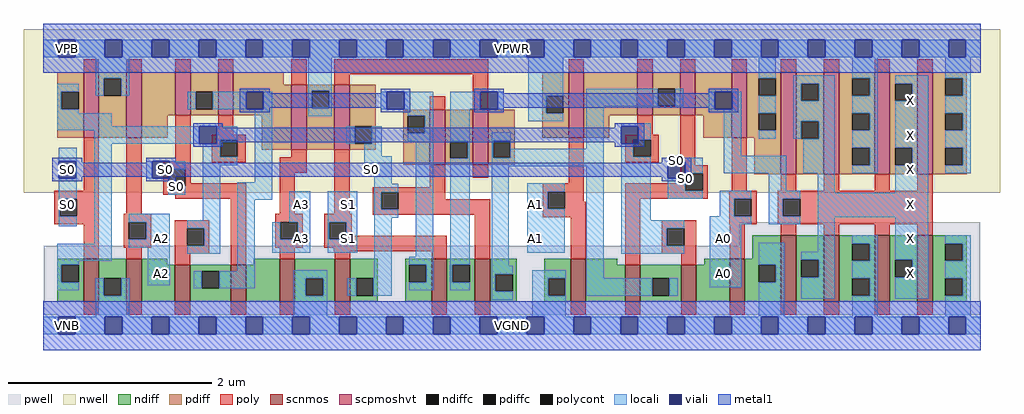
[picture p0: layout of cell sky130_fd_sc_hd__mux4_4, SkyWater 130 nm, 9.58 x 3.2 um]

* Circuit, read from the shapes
.subckt sky130_fd_sc_hd__mux4_4 A0 A1 A2 A3 S0 S1 VGND VNB VPB VPWR X
XM1 VGND S0 n1 VNB sky130_fd_pr__nfet_01v8 w=0.42 l=0.15
XM2 n2 A2 VGND VNB sky130_fd_pr__nfet_01v8 w=0.42 l=0.15
XM3 n3 n1 n2 VNB sky130_fd_pr__nfet_01v8 w=0.36 l=0.15
XM4 n4 S0 n3 VNB sky130_fd_pr__nfet_01v8 w=0.36 l=0.15
XM5 VGND A3 n4 VNB sky130_fd_pr__nfet_01v8 w=0.42 l=0.15
XM6 n5 S1 VGND VNB sky130_fd_pr__nfet_01v8 w=0.42 l=0.15
XM7 n6 S1 n3 VNB sky130_fd_pr__nfet_01v8 w=0.42 l=0.15
XM8 n7 n5 n6 VNB sky130_fd_pr__nfet_01v8 w=0.42 l=0.15
XM9 n8 A1 VGND VNB sky130_fd_pr__nfet_01v8 w=0.42 l=0.15
XM10 n7 S0 n8 VNB sky130_fd_pr__nfet_01v8 w=0.36 l=0.15
XM11 n9 n1 n7 VNB sky130_fd_pr__nfet_01v8 w=0.36 l=0.15
XM12 VGND A0 n9 VNB sky130_fd_pr__nfet_01v8 w=0.42 l=0.15
XM13 X n6 VGND VNB sky130_fd_pr__nfet_01v8 w=0.65 l=0.15 m=4
XM14 VPWR S0 n1 VPB sky130_fd_pr__pfet_01v8_hvt w=0.64 l=0.15
XM15 n10 A2 VPWR VPB sky130_fd_pr__pfet_01v8_hvt w=0.64 l=0.15
XM16 n3 S0 n10 VPB sky130_fd_pr__pfet_01v8_hvt w=0.42 l=0.15
XM17 n11 n1 n3 VPB sky130_fd_pr__pfet_01v8_hvt w=0.42 l=0.15
XM18 VPWR A3 n11 VPB sky130_fd_pr__pfet_01v8_hvt w=0.64 l=0.15
XM19 n5 S1 VPWR VPB sky130_fd_pr__pfet_01v8_hvt w=0.64 l=0.15
XM20 n6 n5 n3 VPB sky130_fd_pr__pfet_01v8_hvt w=0.54 l=0.15
XM21 n7 S1 n6 VPB sky130_fd_pr__pfet_01v8_hvt w=0.54 l=0.15
XM22 n12 A1 VPWR VPB sky130_fd_pr__pfet_01v8_hvt w=0.64 l=0.15
XM23 n7 n1 n12 VPB sky130_fd_pr__pfet_01v8_hvt w=0.42 l=0.15
XM24 n13 S0 n7 VPB sky130_fd_pr__pfet_01v8_hvt w=0.42 l=0.15
XM25 VPWR A0 n13 VPB sky130_fd_pr__pfet_01v8_hvt w=0.64 l=0.15
XM26 X n6 VPWR VPB sky130_fd_pr__pfet_01v8_hvt w=1 l=0.15 m=4
.ends

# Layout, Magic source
magic
tech sky130A
magscale 1 2
<< nwell >>
rect -38 261 1878 582
<< pwell >>
rect 1366 157 1839 203
rect 1 21 1839 157
rect 30 -17 64 21
<< scnmos >>
rect 79 47 109 131
rect 163 47 193 131
rect 258 47 288 119
rect 368 47 398 119
rect 464 47 494 131
rect 572 47 602 131
rect 762 47 792 131
rect 847 47 877 131
rect 1035 47 1065 131
rect 1142 47 1172 119
rect 1252 47 1282 119
rect 1347 47 1377 131
rect 1448 47 1478 177
rect 1532 47 1562 177
rect 1632 47 1662 177
rect 1716 47 1746 177
<< scpmoshvt >>
rect 79 369 109 497
rect 163 369 193 497
rect 259 413 289 497
rect 343 413 373 497
rect 487 345 517 473
rect 571 345 601 473
rect 759 316 789 424
rect 843 316 873 424
rect 1031 369 1061 497
rect 1166 413 1196 497
rect 1250 413 1280 497
rect 1351 369 1381 497
rect 1448 297 1478 497
rect 1532 297 1562 497
rect 1632 297 1662 497
rect 1716 297 1746 497
<< ndiff >>
rect 27 119 79 131
rect 27 85 35 119
rect 69 85 79 119
rect 27 47 79 85
rect 109 93 163 131
rect 109 59 119 93
rect 153 59 163 93
rect 109 47 163 59
rect 193 119 243 131
rect 413 119 464 131
rect 193 47 258 119
rect 288 107 368 119
rect 288 73 311 107
rect 345 73 368 107
rect 288 47 368 73
rect 398 47 464 119
rect 494 93 572 131
rect 494 59 515 93
rect 549 59 572 93
rect 494 47 572 59
rect 602 93 656 131
rect 602 59 614 93
rect 648 59 656 93
rect 602 47 656 59
rect 710 119 762 131
rect 710 85 718 119
rect 752 85 762 119
rect 710 47 762 85
rect 792 119 847 131
rect 792 85 803 119
rect 837 85 847 119
rect 792 47 847 85
rect 877 101 929 131
rect 877 67 887 101
rect 921 67 929 101
rect 877 47 929 67
rect 983 93 1035 131
rect 983 59 991 93
rect 1025 59 1035 93
rect 983 47 1035 59
rect 1065 119 1127 131
rect 1392 131 1448 177
rect 1297 119 1347 131
rect 1065 47 1142 119
rect 1172 93 1252 119
rect 1172 59 1195 93
rect 1229 59 1252 93
rect 1172 47 1252 59
rect 1282 47 1347 119
rect 1377 119 1448 131
rect 1377 85 1404 119
rect 1438 85 1448 119
rect 1377 47 1448 85
rect 1478 129 1532 177
rect 1478 95 1488 129
rect 1522 95 1532 129
rect 1478 47 1532 95
rect 1562 161 1632 177
rect 1562 127 1588 161
rect 1622 127 1632 161
rect 1562 93 1632 127
rect 1562 59 1588 93
rect 1622 59 1632 93
rect 1562 47 1632 59
rect 1662 129 1716 177
rect 1662 95 1672 129
rect 1706 95 1716 129
rect 1662 47 1716 95
rect 1746 161 1813 177
rect 1746 127 1771 161
rect 1805 127 1813 161
rect 1746 93 1813 127
rect 1746 59 1771 93
rect 1805 59 1813 93
rect 1746 47 1813 59
<< pdiff >>
rect 27 459 79 497
rect 27 425 35 459
rect 69 425 79 459
rect 27 369 79 425
rect 109 485 163 497
rect 109 451 119 485
rect 153 451 163 485
rect 109 369 163 451
rect 193 413 259 497
rect 289 459 343 497
rect 289 425 299 459
rect 333 425 343 459
rect 289 413 343 425
rect 373 473 472 497
rect 373 413 487 473
rect 193 369 244 413
rect 429 345 487 413
rect 517 461 571 473
rect 517 427 527 461
rect 561 427 571 461
rect 517 345 571 427
rect 601 391 653 473
rect 979 451 1031 497
rect 601 357 611 391
rect 645 357 653 391
rect 601 345 653 357
rect 707 412 759 424
rect 707 378 715 412
rect 749 378 759 412
rect 707 316 759 378
rect 789 362 843 424
rect 789 328 799 362
rect 833 328 843 362
rect 789 316 843 328
rect 873 363 925 424
rect 979 417 987 451
rect 1021 417 1031 451
rect 979 369 1031 417
rect 1061 413 1166 497
rect 1196 465 1250 497
rect 1196 431 1206 465
rect 1240 431 1250 465
rect 1196 413 1250 431
rect 1280 413 1351 497
rect 1061 369 1111 413
rect 873 329 883 363
rect 917 329 925 363
rect 873 316 925 329
rect 1295 369 1351 413
rect 1381 485 1448 497
rect 1381 451 1404 485
rect 1438 451 1448 485
rect 1381 417 1448 451
rect 1381 383 1404 417
rect 1438 383 1448 417
rect 1381 369 1448 383
rect 1396 297 1448 369
rect 1478 475 1532 497
rect 1478 441 1488 475
rect 1522 441 1532 475
rect 1478 401 1532 441
rect 1478 367 1488 401
rect 1522 367 1532 401
rect 1478 297 1532 367
rect 1562 485 1632 497
rect 1562 451 1588 485
rect 1622 451 1632 485
rect 1562 417 1632 451
rect 1562 383 1588 417
rect 1622 383 1632 417
rect 1562 349 1632 383
rect 1562 315 1588 349
rect 1622 315 1632 349
rect 1562 297 1632 315
rect 1662 475 1716 497
rect 1662 441 1672 475
rect 1706 441 1716 475
rect 1662 349 1716 441
rect 1662 315 1672 349
rect 1706 315 1716 349
rect 1662 297 1716 315
rect 1746 485 1813 497
rect 1746 451 1771 485
rect 1805 451 1813 485
rect 1746 417 1813 451
rect 1746 383 1771 417
rect 1805 383 1813 417
rect 1746 349 1813 383
rect 1746 315 1771 349
rect 1805 315 1813 349
rect 1746 297 1813 315
<< ndiffc >>
rect 35 85 69 119
rect 119 59 153 93
rect 311 73 345 107
rect 515 59 549 93
rect 614 59 648 93
rect 718 85 752 119
rect 803 85 837 119
rect 887 67 921 101
rect 991 59 1025 93
rect 1195 59 1229 93
rect 1404 85 1438 119
rect 1488 95 1522 129
rect 1588 127 1622 161
rect 1588 59 1622 93
rect 1672 95 1706 129
rect 1771 127 1805 161
rect 1771 59 1805 93
<< pdiffc >>
rect 35 425 69 459
rect 119 451 153 485
rect 299 425 333 459
rect 527 427 561 461
rect 611 357 645 391
rect 715 378 749 412
rect 799 328 833 362
rect 987 417 1021 451
rect 1206 431 1240 465
rect 883 329 917 363
rect 1404 451 1438 485
rect 1404 383 1438 417
rect 1488 441 1522 475
rect 1488 367 1522 401
rect 1588 451 1622 485
rect 1588 383 1622 417
rect 1588 315 1622 349
rect 1672 441 1706 475
rect 1672 315 1706 349
rect 1771 451 1805 485
rect 1771 383 1805 417
rect 1771 315 1805 349
<< poly >>
rect 79 497 109 523
rect 163 497 193 523
rect 259 497 289 523
rect 343 497 373 523
rect 487 473 517 523
rect 571 493 873 523
rect 1031 497 1061 523
rect 1166 497 1196 523
rect 1250 497 1280 523
rect 1351 497 1381 523
rect 1448 497 1478 523
rect 1532 497 1562 523
rect 1632 497 1662 523
rect 1716 497 1746 523
rect 571 473 601 493
rect 79 265 109 369
rect 21 249 109 265
rect 21 215 32 249
rect 66 215 109 249
rect 163 219 193 369
rect 259 323 289 413
rect 343 375 373 413
rect 235 307 289 323
rect 331 365 397 375
rect 331 331 347 365
rect 381 331 397 365
rect 759 424 789 450
rect 843 424 873 493
rect 331 321 397 331
rect 487 330 517 345
rect 235 273 245 307
rect 279 279 289 307
rect 464 300 517 330
rect 279 273 398 279
rect 235 257 398 273
rect 259 249 398 257
rect 21 199 109 215
rect 79 131 109 199
rect 158 203 212 219
rect 158 169 168 203
rect 202 169 212 203
rect 158 153 212 169
rect 258 191 326 207
rect 258 157 282 191
rect 316 157 326 191
rect 163 131 193 153
rect 258 141 326 157
rect 258 119 288 141
rect 368 119 398 249
rect 464 219 494 300
rect 571 219 601 345
rect 1166 375 1196 413
rect 759 272 789 316
rect 843 290 873 316
rect 1031 279 1061 369
rect 1142 365 1208 375
rect 1142 331 1158 365
rect 1192 331 1208 365
rect 1142 321 1208 331
rect 1250 315 1280 413
rect 1250 299 1304 315
rect 1250 279 1260 299
rect 647 262 789 272
rect 647 228 663 262
rect 697 248 789 262
rect 980 263 1061 279
rect 697 228 877 248
rect 455 203 509 219
rect 455 169 465 203
rect 499 169 509 203
rect 455 153 509 169
rect 551 203 605 219
rect 647 218 877 228
rect 551 169 561 203
rect 595 176 605 203
rect 595 169 792 176
rect 551 153 792 169
rect 464 131 494 153
rect 570 146 792 153
rect 572 131 602 146
rect 762 131 792 146
rect 847 131 877 218
rect 980 229 990 263
rect 1024 243 1061 263
rect 1142 265 1260 279
rect 1294 265 1304 299
rect 1351 265 1381 369
rect 1448 265 1478 297
rect 1532 265 1562 297
rect 1632 265 1662 297
rect 1716 265 1746 297
rect 1142 249 1304 265
rect 1346 249 1400 265
rect 1024 229 1065 243
rect 980 213 1065 229
rect 1035 131 1065 213
rect 1142 119 1172 249
rect 1346 215 1356 249
rect 1390 215 1400 249
rect 1214 191 1282 207
rect 1346 199 1400 215
rect 1442 249 1746 265
rect 1442 215 1452 249
rect 1486 215 1746 249
rect 1442 199 1746 215
rect 1214 157 1224 191
rect 1258 157 1282 191
rect 1214 141 1282 157
rect 1252 119 1282 141
rect 1347 131 1377 199
rect 1448 177 1478 199
rect 1532 177 1562 199
rect 1632 177 1662 199
rect 1716 177 1746 199
rect 79 21 109 47
rect 163 21 193 47
rect 258 21 288 47
rect 368 21 398 47
rect 464 21 494 47
rect 572 21 602 47
rect 762 21 792 47
rect 847 21 877 47
rect 1035 21 1065 47
rect 1142 21 1172 47
rect 1252 21 1282 47
rect 1347 21 1377 47
rect 1448 21 1478 47
rect 1532 21 1562 47
rect 1632 21 1662 47
rect 1716 21 1746 47
<< polycont >>
rect 32 215 66 249
rect 347 331 381 365
rect 245 273 279 307
rect 168 169 202 203
rect 282 157 316 191
rect 1158 331 1192 365
rect 663 228 697 262
rect 465 169 499 203
rect 561 169 595 203
rect 990 229 1024 263
rect 1260 265 1294 299
rect 1356 215 1390 249
rect 1452 215 1486 249
rect 1224 157 1258 191
<< locali >>
rect 0 527 29 561
rect 63 527 121 561
rect 155 527 213 561
rect 247 527 305 561
rect 339 527 397 561
rect 431 527 489 561
rect 523 527 581 561
rect 615 527 673 561
rect 707 527 765 561
rect 799 527 857 561
rect 891 527 949 561
rect 983 527 1041 561
rect 1075 527 1133 561
rect 1167 527 1225 561
rect 1259 527 1317 561
rect 1351 527 1409 561
rect 1443 527 1501 561
rect 1535 527 1593 561
rect 1627 527 1685 561
rect 1719 527 1777 561
rect 1811 527 1840 561
rect 103 485 169 527
rect 27 459 69 475
rect 27 425 35 459
rect 103 451 119 485
rect 153 451 169 485
rect 520 461 566 527
rect 283 425 299 459
rect 333 425 398 459
rect 432 425 449 459
rect 27 417 69 425
rect 27 391 134 417
rect 27 383 306 391
rect 100 357 306 383
rect 340 365 381 391
rect 340 357 347 365
rect 30 323 66 349
rect 64 289 66 323
rect 30 249 66 289
rect 30 215 32 249
rect 30 195 66 215
rect 100 161 134 357
rect 313 331 347 357
rect 202 289 214 323
rect 248 307 279 323
rect 245 257 279 273
rect 313 315 381 331
rect 27 127 134 161
rect 168 203 248 219
rect 313 207 347 315
rect 415 281 449 425
rect 520 427 527 461
rect 561 427 566 461
rect 520 411 566 427
rect 662 425 674 459
rect 708 425 765 459
rect 715 412 765 425
rect 595 357 611 391
rect 645 357 664 391
rect 749 378 765 412
rect 715 362 765 378
rect 630 332 664 357
rect 630 298 684 332
rect 202 169 248 203
rect 168 153 248 169
rect 27 119 69 127
rect 27 85 35 119
rect 27 69 69 85
rect 103 59 119 93
rect 153 59 169 93
rect 205 79 248 153
rect 282 191 347 207
rect 316 157 347 191
rect 282 141 347 157
rect 381 247 449 281
rect 650 278 684 298
rect 381 107 415 247
rect 483 203 524 264
rect 449 169 465 203
rect 499 169 524 203
rect 449 143 524 169
rect 558 203 616 264
rect 558 169 561 203
rect 595 169 616 203
rect 558 143 616 169
rect 650 262 697 278
rect 650 228 663 262
rect 650 212 697 228
rect 295 73 311 107
rect 345 73 415 107
rect 491 93 557 109
rect 650 93 684 212
rect 731 135 765 362
rect 103 17 169 59
rect 491 59 515 93
rect 549 59 557 93
rect 598 59 614 93
rect 648 59 684 93
rect 718 119 765 135
rect 752 85 765 119
rect 718 69 765 85
rect 799 425 858 459
rect 892 425 904 459
rect 952 451 1021 527
rect 1404 485 1438 527
rect 799 362 837 425
rect 952 417 987 451
rect 952 401 1021 417
rect 1066 431 1206 465
rect 1240 431 1256 465
rect 833 328 837 362
rect 799 119 837 328
rect 799 85 803 119
rect 799 69 837 85
rect 880 363 918 379
rect 880 329 883 363
rect 917 347 918 363
rect 1066 347 1100 431
rect 1306 425 1318 459
rect 1352 425 1370 459
rect 917 329 1100 347
rect 880 313 1100 329
rect 880 117 914 313
rect 950 263 1024 279
rect 950 229 990 263
rect 950 143 1024 229
rect 880 101 921 117
rect 880 67 887 101
rect 491 17 557 59
rect 880 51 921 67
rect 960 93 1026 109
rect 960 59 991 93
rect 1025 59 1026 93
rect 1066 93 1100 313
rect 1134 391 1192 397
rect 1168 365 1192 391
rect 1134 331 1158 357
rect 1134 207 1192 331
rect 1336 333 1370 425
rect 1404 417 1438 451
rect 1404 367 1438 383
rect 1472 475 1554 491
rect 1472 441 1488 475
rect 1522 441 1554 475
rect 1472 401 1554 441
rect 1472 367 1488 401
rect 1522 367 1554 401
rect 1226 323 1294 329
rect 1260 299 1294 323
rect 1336 299 1458 333
rect 1492 299 1554 367
rect 1588 485 1638 527
rect 1622 451 1638 485
rect 1588 417 1638 451
rect 1622 383 1638 417
rect 1588 349 1638 383
rect 1622 315 1638 349
rect 1588 299 1638 315
rect 1672 475 1737 491
rect 1706 441 1737 475
rect 1672 349 1737 441
rect 1706 315 1737 349
rect 1226 265 1260 289
rect 1424 265 1458 299
rect 1226 249 1294 265
rect 1328 249 1390 265
rect 1328 215 1356 249
rect 1134 191 1258 207
rect 1134 157 1224 191
rect 1134 141 1258 157
rect 1308 199 1390 215
rect 1424 249 1486 265
rect 1424 215 1452 249
rect 1424 199 1486 215
rect 1520 261 1554 299
rect 1672 261 1737 315
rect 1771 485 1821 527
rect 1805 451 1821 485
rect 1771 417 1821 451
rect 1805 383 1821 417
rect 1771 349 1821 383
rect 1805 315 1821 349
rect 1771 299 1821 315
rect 1520 213 1737 261
rect 1066 59 1195 93
rect 1229 59 1245 93
rect 1308 75 1370 199
rect 1404 119 1454 163
rect 1520 145 1554 213
rect 1438 85 1454 119
rect 960 17 1026 59
rect 1404 17 1454 85
rect 1488 129 1554 145
rect 1522 95 1554 129
rect 1488 53 1554 95
rect 1588 161 1638 177
rect 1622 127 1638 161
rect 1588 93 1638 127
rect 1622 59 1638 93
rect 1588 17 1638 59
rect 1672 129 1737 213
rect 1706 95 1737 129
rect 1672 53 1737 95
rect 1771 161 1821 177
rect 1805 127 1821 161
rect 1771 93 1821 127
rect 1805 59 1821 93
rect 1771 17 1821 59
rect 0 -17 29 17
rect 63 -17 121 17
rect 155 -17 213 17
rect 247 -17 305 17
rect 339 -17 397 17
rect 431 -17 489 17
rect 523 -17 581 17
rect 615 -17 673 17
rect 707 -17 765 17
rect 799 -17 857 17
rect 891 -17 949 17
rect 983 -17 1041 17
rect 1075 -17 1133 17
rect 1167 -17 1225 17
rect 1259 -17 1317 17
rect 1351 -17 1409 17
rect 1443 -17 1501 17
rect 1535 -17 1593 17
rect 1627 -17 1685 17
rect 1719 -17 1777 17
rect 1811 -17 1840 17
<< viali >>
rect 29 527 63 561
rect 121 527 155 561
rect 213 527 247 561
rect 305 527 339 561
rect 397 527 431 561
rect 489 527 523 561
rect 581 527 615 561
rect 673 527 707 561
rect 765 527 799 561
rect 857 527 891 561
rect 949 527 983 561
rect 1041 527 1075 561
rect 1133 527 1167 561
rect 1225 527 1259 561
rect 1317 527 1351 561
rect 1409 527 1443 561
rect 1501 527 1535 561
rect 1593 527 1627 561
rect 1685 527 1719 561
rect 1777 527 1811 561
rect 398 425 432 459
rect 306 357 340 391
rect 30 289 64 323
rect 214 307 248 323
rect 214 289 245 307
rect 245 289 248 307
rect 674 425 708 459
rect 858 425 892 459
rect 1318 425 1352 459
rect 1134 365 1168 391
rect 1134 357 1158 365
rect 1158 357 1168 365
rect 1226 289 1260 323
rect 29 -17 63 17
rect 121 -17 155 17
rect 213 -17 247 17
rect 305 -17 339 17
rect 397 -17 431 17
rect 489 -17 523 17
rect 581 -17 615 17
rect 673 -17 707 17
rect 765 -17 799 17
rect 857 -17 891 17
rect 949 -17 983 17
rect 1041 -17 1075 17
rect 1133 -17 1167 17
rect 1225 -17 1259 17
rect 1317 -17 1351 17
rect 1409 -17 1443 17
rect 1501 -17 1535 17
rect 1593 -17 1627 17
rect 1685 -17 1719 17
rect 1777 -17 1811 17
<< metal1 >>
rect 0 561 1840 592
rect 0 527 29 561
rect 63 527 121 561
rect 155 527 213 561
rect 247 527 305 561
rect 339 527 397 561
rect 431 527 489 561
rect 523 527 581 561
rect 615 527 673 561
rect 707 527 765 561
rect 799 527 857 561
rect 891 527 949 561
rect 983 527 1041 561
rect 1075 527 1133 561
rect 1167 527 1225 561
rect 1259 527 1317 561
rect 1351 527 1409 561
rect 1443 527 1501 561
rect 1535 527 1593 561
rect 1627 527 1685 561
rect 1719 527 1777 561
rect 1811 527 1840 561
rect 0 496 1840 527
rect 386 459 444 465
rect 386 425 398 459
rect 432 456 444 459
rect 662 459 720 465
rect 662 456 674 459
rect 432 428 674 456
rect 432 425 444 428
rect 386 419 444 425
rect 662 425 674 428
rect 708 425 720 459
rect 662 419 720 425
rect 846 459 904 465
rect 846 425 858 459
rect 892 456 904 459
rect 1306 459 1364 465
rect 1306 456 1318 459
rect 892 428 1318 456
rect 892 425 904 428
rect 846 419 904 425
rect 1306 425 1318 428
rect 1352 425 1364 459
rect 1306 419 1364 425
rect 294 391 352 397
rect 294 357 306 391
rect 340 388 352 391
rect 1122 391 1180 397
rect 1122 388 1134 391
rect 340 360 1134 388
rect 340 357 352 360
rect 294 351 352 357
rect 1122 357 1134 360
rect 1168 357 1180 391
rect 1122 351 1180 357
rect 17 323 76 329
rect 17 289 30 323
rect 64 320 76 323
rect 202 323 260 329
rect 202 320 214 323
rect 64 292 214 320
rect 64 289 76 292
rect 17 283 76 289
rect 202 289 214 292
rect 248 320 260 323
rect 1214 323 1272 329
rect 1214 320 1226 323
rect 248 292 1226 320
rect 248 289 260 292
rect 202 283 260 289
rect 1214 289 1226 292
rect 1260 289 1272 323
rect 1214 283 1272 289
rect 0 17 1840 48
rect 0 -17 29 17
rect 63 -17 121 17
rect 155 -17 213 17
rect 247 -17 305 17
rect 339 -17 397 17
rect 431 -17 489 17
rect 523 -17 581 17
rect 615 -17 673 17
rect 707 -17 765 17
rect 799 -17 857 17
rect 891 -17 949 17
rect 983 -17 1041 17
rect 1075 -17 1133 17
rect 1167 -17 1225 17
rect 1259 -17 1317 17
rect 1351 -17 1409 17
rect 1443 -17 1501 17
rect 1535 -17 1593 17
rect 1627 -17 1685 17
rect 1719 -17 1777 17
rect 1811 -17 1840 17
rect 0 -48 1840 -17
<< labels >>
flabel pwell s 30 -17 64 17 0 FreeSans 200 0 0 0 VNB
port 8 nsew ground bidirectional
flabel nwell s 30 527 64 561 0 FreeSans 200 0 0 0 VPB
port 9 nsew power bidirectional
flabel metal1 s 30 -17 64 17 0 FreeSans 200 0 0 0 VGND
port 7 nsew ground bidirectional abutment
flabel metal1 s 30 527 64 561 0 FreeSans 200 0 0 0 VPWR
port 10 nsew power bidirectional abutment
flabel locali s 1686 85 1720 119 0 FreeSans 400 0 0 0 X
port 11 nsew signal output
flabel locali s 1686 153 1720 187 0 FreeSans 400 0 0 0 X
port 11 nsew signal output
flabel locali s 1686 221 1720 255 0 FreeSans 400 0 0 0 X
port 11 nsew signal output
flabel locali s 1686 289 1720 323 0 FreeSans 400 0 0 0 X
port 11 nsew signal output
flabel locali s 1686 357 1720 391 0 FreeSans 400 0 0 0 X
port 11 nsew signal output
flabel locali s 1686 425 1720 459 0 FreeSans 400 0 0 0 X
port 11 nsew signal output
flabel locali s 30 221 64 255 0 FreeSans 400 0 0 0 S0
port 5 nsew signal input
flabel locali s 30 289 64 323 0 FreeSans 400 0 0 0 S0
port 5 nsew signal input
flabel locali s 214 153 248 187 0 FreeSans 400 0 0 0 A2
port 3 nsew signal input
flabel locali s 214 85 248 119 0 FreeSans 400 0 0 0 A2
port 3 nsew signal input
flabel locali s 490 153 524 187 0 FreeSans 400 0 0 0 A3
port 4 nsew signal input
flabel locali s 490 221 524 255 0 FreeSans 400 0 0 0 A3
port 4 nsew signal input
flabel locali s 582 221 616 255 0 FreeSans 400 0 0 0 S1
port 6 nsew signal input
flabel locali s 582 153 616 187 0 FreeSans 400 0 0 0 S1
port 6 nsew signal input
flabel locali s 950 221 984 255 0 FreeSans 400 0 0 0 A1
port 2 nsew signal input
flabel locali s 950 153 984 187 0 FreeSans 400 0 0 0 A1
port 2 nsew signal input
flabel locali s 1318 153 1352 187 0 FreeSans 400 0 0 0 A0
port 1 nsew signal input
flabel locali s 1318 85 1352 119 0 FreeSans 400 0 0 0 A0
port 1 nsew signal input
rlabel comment s 0 0 0 0 4 mux4_4
rlabel locali s 245 257 279 289 1 S0
port 5 nsew signal input
rlabel locali s 202 289 279 323 1 S0
port 5 nsew signal input
rlabel locali s 1226 249 1294 329 1 S0
port 5 nsew signal input
rlabel metal1 s 1214 320 1272 329 1 S0
port 5 nsew signal input
rlabel metal1 s 1214 283 1272 292 1 S0
port 5 nsew signal input
rlabel metal1 s 202 320 260 329 1 S0
port 5 nsew signal input
rlabel metal1 s 202 283 260 292 1 S0
port 5 nsew signal input
rlabel metal1 s 17 320 76 329 1 S0
port 5 nsew signal input
rlabel metal1 s 17 292 1272 320 1 S0
port 5 nsew signal input
rlabel metal1 s 17 283 76 292 1 S0
port 5 nsew signal input
rlabel metal1 s 0 -48 1840 48 1 VGND
port 7 nsew ground bidirectional abutment
rlabel metal1 s 0 496 1840 592 1 VPWR
port 10 nsew power bidirectional abutment
<< properties >>
string FIXED_BBOX 0 0 1840 544
string GDS_END 1799748
string GDS_FILE $PDKPATH/libs.ref/sky130_fd_sc_hd/gds/sky130_fd_sc_hd.gds
string GDS_START 1784140
string LEFclass CORE
string LEFsite unithd
string LEFsymmetry X Y R90
string path 0.000 13.600 46.000 13.600 
<< end >>
